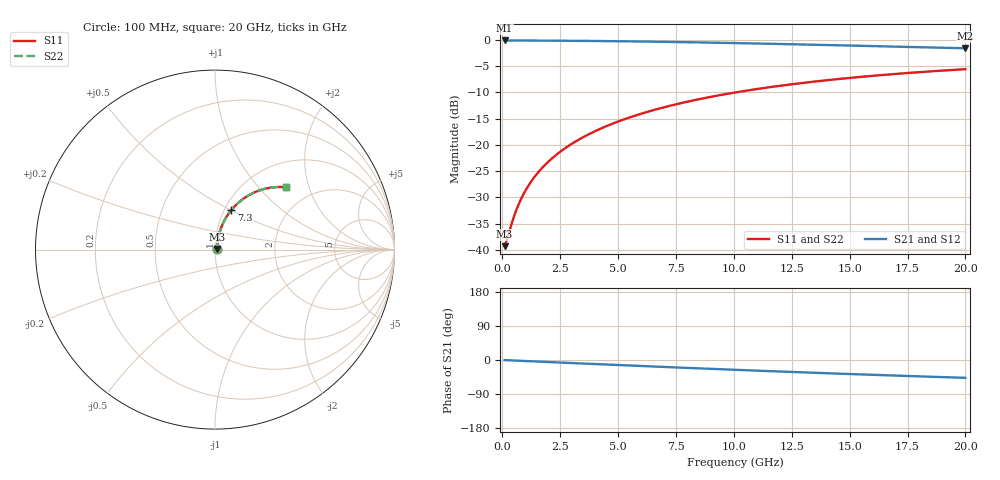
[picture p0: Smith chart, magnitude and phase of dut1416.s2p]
! Touchstone file exported from HFSS 2026.1.0
!  File:  C:/ffzhzh/LocalFiles/Ansys_Project_Files/temp_train_BSMRDL_1416_1783180134_51560.aedt
!  Generated:  11:50:09 PM Jul  4, 2026
!  Design:  BSMRDL
!  Project:  temp_train_BSMRDL_1416_1783180134_51560
! Variables:
!  h_bsmrdl = 2.05um
!  h_ox = 20um
!  h_rdl = 5um
!  h_sub = 80um
!  h_tmrdl = 5um
!  h_tsv = 80um
!  h_via = 3um
!  l_bsmrdl = 625.52um
!  l_sub = 1025.52um
!  l_tmrdl = 200um
!  m_sub = 200um
!  pitch = 39.83um
!  r_tsv = 6um
!  s_tmrdl = 10um
!  w_bsmrdl = 10.51um
!  w_sub = 500um
!  w_tmrdl = 12um
!  x_tsv_center1 = 206um
!  x_tsv_center2 = 842.03um
!  x_tsv_center3 = 1054.03um
!  x_tsv_center4 = 1690.06um
!  x_tsv_center5 = 1902.06um
!  x_tsv_center6 = 2538.09um
# GHz S MA R 50.000000
! Terminal data exported
! Port[1] = BSM_RDL1_1_T1
! Port[2] = BSM_RDL1_1_T2
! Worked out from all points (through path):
!   200 points, 100 MHz to 20 GHz, reference 50 ohm
!   highest |S21| = -0.09 dB at 100 MHz (marker M1); lowest = -1.6 dB at 20 GHz (marker M2)
!   group delay of S21, straight-line fit = 6.56 ps
!   lowest |S11| = -39.3 dB at 100 MHz (marker M3), VSWR 1.02, Z = 51 + j0.36 ohm
!   |S11| at or under -10 dB: start of sweep to 10.06 GHz
!   |S22| runs from -39.3 to -5.6 dB; largest |S21 - S12| = 2.7e-15
!   S11 on the Smith chart (normalised r, x): 100 MHz: 1.02, +0.01; 7.3 GHz: 1.08, +0.50; 20 GHz: 1.49, +1.43
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0.1  0.01084 19.0  0.9898 -0.3  0.9898 -0.3  0.01084 19.0
! Gamma 0 0 0 0
! Port Impedance 50 0 50 0
0.2  0.01251 34.2  0.9897 -0.6  0.9897 -0.6  0.01251 34.2
0.5  0.02063 57.9  0.9893 -1.4  0.9893 -1.4  0.02063 57.9
0.7  0.02694 64.5  0.9889 -1.9  0.9889 -1.9  0.02694 64.5
0.8  0.03017 66.7  0.9887 -2.2  0.9887 -2.2  0.03017 66.7
1  0.0367 69.7  0.9883 -2.7  0.9883 -2.7  0.0367 69.7
1.3  0.04656 72.3  0.9876 -3.5  0.9876 -3.5  0.04656 72.3
1.7  0.05973 74.1  0.9866 -4.6  0.9866 -4.6  0.05973 74.1
2.2  0.07618 75.0  0.9852 -5.9  0.9852 -5.9  0.07618 75.0
2.8  0.09589 75.1  0.9832 -7.5  0.9832 -7.5  0.09589 75.1
3.5  0.1188 74.6  0.9806 -9.4  0.9806 -9.4  0.1188 74.6
4.2  0.1414 73.7  0.9774 -11.2  0.9774 -11.2  0.1414 73.7
5  0.167 72.3  0.9732 -13.3  0.9732 -13.3  0.167 72.3
5.9  0.1953 70.6  0.9678 -15.6  0.9678 -15.6  0.1953 70.6
6.8  0.2229 68.7  0.9616 -17.9  0.9616 -17.9  0.2229 68.7
7.3  0.2379 67.6  0.958 -19.2  0.958 -19.2  0.2379 67.6
8.6  0.2758 64.8  0.9475 -22.4  0.9475 -22.4  0.2758 64.8
10.1  0.3173 61.4  0.9342 -26.0  0.9342 -26.0  0.3173 61.4
11.7  0.3588 57.9  0.9189 -29.7  0.9189 -29.7  0.3588 57.9
13.4  0.3996 54.3  0.9017 -33.6  0.9017 -33.6  0.3996 54.3
16.7  0.4694 47.5  0.8673 -40.6  0.8673 -40.6  0.4694 47.5
20  0.5272 41.2  0.8336 -47.1  0.8336 -47.1  0.5272 41.2
